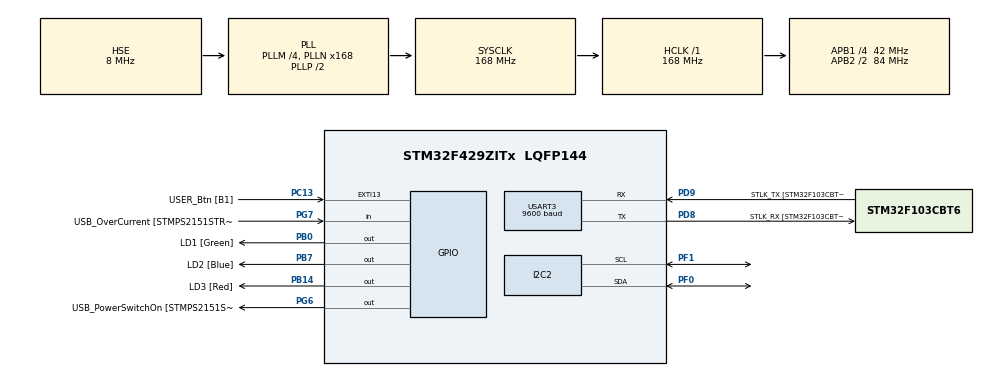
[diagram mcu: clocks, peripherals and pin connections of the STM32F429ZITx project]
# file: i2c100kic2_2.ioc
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Mcu.Family=STM32F4
Mcu.Name=STM32F429ZITx
Mcu.Package=LQFP144
NVIC.PriorityGroup=NVIC_PRIORITYGROUP_4
PA1.GPIO_Label=RMII_REF_CLK [LAN8742A-CZ-TR_REFCLK0]
PA1.Signal=ETH_REF_CLK
PA10.GPIO_Label=USB_ID
PA10.Signal=USB_OTG_FS_ID
PA11.GPIO_Label=USB_DM
PA11.Signal=USB_OTG_FS_DM
PA12.GPIO_Label=USB_DP
PA12.Signal=USB_OTG_FS_DP
PA13.GPIO_Label=TMS
PA13.Signal=SYS_JTMS-SWDIO
PA14.GPIO_Label=TCK
PA14.Signal=SYS_JTCK-SWCLK
PA2.GPIO_Label=RMII_MDIO [LAN8742A-CZ-TR_MDIO]
PA2.Signal=ETH_MDIO
PA7.GPIO_Label=RMII_CRS_DV [LAN8742A-CZ-TR_CRS_DV]
PA7.Signal=ETH_CRS_DV
PA8.GPIO_Label=USB_SOF [TP1]
PA8.Signal=USB_OTG_FS_SOF
PA9.GPIO_Label=USB_VBUS
PA9.Signal=USB_OTG_FS_VBUS
PB0.GPIO_Label=LD1 [Green]
PB0.Signal=GPIO_Output
PB13.GPIO_Label=RMII_TXD1 [LAN8742A-CZ-TR_TXD1]
PB13.Signal=ETH_TXD1
PB14.GPIO_Label=LD3 [Red]
PB14.Signal=GPIO_Output
PB7.GPIO_Label=LD2 [Blue]
PB7.Signal=GPIO_Output
PC1.GPIO_Label=RMII_MDC [LAN8742A-CZ-TR_MDC]
PC1.Signal=ETH_MDC
PC13.GPIO_Label=USER_Btn [B1]
PC13.Signal=GPXTI13
PC14/OSC32_IN.Mode=LSE-External-Oscillator
PC14/OSC32_IN.Signal=RCC_OSC32_IN
PC15/OSC32_OUT.Mode=LSE-External-Oscillator
PC15/OSC32_OUT.Signal=RCC_OSC32_OUT
PC4.GPIO_Label=RMII_RXD0 [LAN8742A-CZ-TR_RXD0]
PC4.Signal=ETH_RXD0
PC5.GPIO_Label=RMII_RXD1 [LAN8742A-CZ-TR_RXD1]
PC5.Signal=ETH_RXD1
PD8.GPIO_Label=STLK_RX [STM32F103CBT6_PA3]
PD8.Mode=Asynchronous
PD8.Signal=USART3_TX
PD9.GPIO_Label=STLK_TX [STM32F103CBT6_PA2]
PD9.Mode=Asynchronous
PD9.Signal=USART3_RX
PF0.Mode=I2C
PF0.Signal=I2C2_SDA
PF1.Mode=I2C
PF1.Signal=I2C2_SCL
PG11.GPIO_Label=RMII_TX_EN [LAN8742A-CZ-TR_TXEN]
PG11.Signal=ETH_TX_EN
PG13.GPIO_Label=RMII_TXD0 [LAN8742A-CZ-TR_TXD0]
PG13.Signal=ETH_TXD0
PG6.GPIO_Label=USB_PowerSwitchOn [STMPS2151STR_EN]
PG6.Signal=GPIO_Output
PG7.GPIO_Label=USB_OverCurrent [STMPS2151STR_FAULT]
PG7.Signal=GPIO_Input
PH0/OSC_IN.GPIO_Label=MCO [STM32F103CBT6_PA8]
PH0/OSC_IN.Mode=HSE-External-Clock-Source
PH0/OSC_IN.Signal=RCC_OSC_IN
PH1/OSC_OUT.Mode=HSE-External-Clock-Source
PH1/OSC_OUT.Signal=RCC_OSC_OUT
ProjectManager.HeapSize=0x200
ProjectManager.StackSize=0x400
ProjectManager.TargetToolchain=STM32CubeIDE
RCC.48MHZClocksFreq_Value=48000000
RCC.AHBFreq_Value=168000000
RCC.APB1CLKDivider=RCC_HCLK_DIV4
RCC.APB1Freq_Value=42000000
RCC.APB1TimFreq_Value=84000000
RCC.APB2CLKDivider=RCC_HCLK_DIV2
RCC.APB2Freq_Value=84000000
RCC.APB2TimCLKDivider=2
RCC.APB2TimFreq_Value=168000000
RCC.CortexFreq_Value=168000000
RCC.HCLKFreq_Value=168000000
RCC.HSE_VALUE=8000000
RCC.HSI_VALUE=16000000
RCC.PLLM=4
RCC.PLLMUL=RCC_PLL_MUL9
RCC.PLLN=168
RCC.PLLQ=7
RCC.PLLSourceVirtual=RCC_PLLSOURCE_HSE
RCC.PRESCALERUSB=RCC_USBCLKSOURCE_PLL_DIV1_5
RCC.SYSCLKFreq_VALUE=168000000
RCC.SYSCLKSource=RCC_SYSCLKSOURCE_PLLCLK
RCC.SYSCLKSourceVirtual=RCC_SYSCLKSOURCE_PLLCLK
RCC.USBFreq_Value=48000000
RCC.VCOOutputFreq_Value=336000000
USART3.BaudRate=9600
USART3.Parity=PARITY_ODD
USART3.VirtualMode=VM_ASYNC
board=NUCLEO-F429ZI

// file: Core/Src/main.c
/* USER CODE BEGIN Header */
/**
 ******************************************************************************
 * @file           : main.c
 * @brief          : Main program body
 ******************************************************************************
 * @attention
 *
 * Copyright (c) 2022 STMicroelectronics.
 * All rights reserved.
 *
 * This software is licensed under terms that can be found in the LICENSE file
 * in the root directory of this software component.
 * If no LICENSE file comes with this software, it is provided AS-IS.
 *
 ******************************************************************************
 */
/* USER CODE END Header */
#include "main.h"

/* USER CODE BEGIN Includes */
#include "SHT3x-DIS/inc/sht3x_dis.h"
/* USER CODE END Includes */

I2C_HandleTypeDef hi2c2;

UART_HandleTypeDef huart3;

/* USER CODE BEGIN PV */
#ifdef __GNUC__
/* With GCC, small printf (option LD Linker->Libraries->Small printf
   set to 'Yes') calls __io_putchar() */
#define PUTCHAR_PROTOTYPE int __io_putchar(int ch)
#else
#define PUTCHAR_PROTOTYPE int fputc(int ch, FILE *f)
#endif /* __GNUC__ */
/* USER CODE END PV */

void SystemClock_Config(void);
static void MX_GPIO_Init(void);
static void MX_I2C2_Init(void);
static void MX_USART3_UART_Init(void);

int main(void)
{

	/* MCU Configuration--------------------------------------------------------*/

	/* Reset of all peripherals, Initializes the Flash interface and the Systick. */
	HAL_Init();

	/* Configure the system clock */
	SystemClock_Config();

	/* Initialize all configured peripherals */
	MX_GPIO_Init();
	MX_I2C2_Init();
	MX_USART3_UART_Init();

	/* Infinite loop */
	/* USER CODE BEGIN WHILE */

	//
	printf("\n\r");
	HAL_Delay(3000);
	/* Output a message on Hyperterminal using printf function */
	printf(" *******************************\n\r");
	printf("  SHT3x-DIS DRIVER test\n\r");
	printf(" *******************************\n\r");

	sht3x_t sht3x_dev;
	statusPort_f sht3x_init;
	statusPort_f sht3x_config;
	statusPort_f sht3x_status;
	uint8_t register_status[2];

	I2C_Handle_Port_t i2c;
	i2c.instance = &hi2c2;

	sht3x_init = SHT3x_DIS_init  (&sht3x_dev, &i2c);
	if (sht3x_init == STATUS_PORT_OK){
		printf ("  - SHT3x-DIS Init: OK\n\r");
	}else{
		printf ("  - SHT3x-DIS Init: ERROR  (%u)\n\r", sht3x_init);
	}

	sht3x_config = SHT3x_DIS_config(&sht3x_dev, SHT3X_ADDRESS_A, SHT3X_MODE_HIGH_CS_ENABLED);
	if (sht3x_config == STATUS_PORT_OK){
		printf ("  - SHT3x-DIS Config: OK\n\r");
	}else{
		printf ("  - SHT3x-DIS Config: ERROR  (%u)\n\r", sht3x_config);
	}

	uint32_t temp = 0;
	uint32_t hum = 0;

	uint32_t f_60 = 0;
	uint32_t temp_test_heater = 0;

	register_status[0] = 0;
	register_status[0] = 0;

	/*
	statusPort_f SHT3x_DIS_init(sht3x_t * const dev, I2C_Handle_Port_t* i2c);
	statusPort_f SHT3x_DIS_config(sht3x_t * const dev, sht3x_address_t my_address, sht3x_mode_t my_mode);
	statusPort_f SHT3x_DIS_reset(sht3x_t * const dev);
	statusPort_f SHT3x_DIS_heater(sht3x_t * const dev, bool enabled);
	statusPort_f SHT3x_DIS_read_status(sht3x_t * const dev, uint32_t *status);
	statusPort_f SHT3x_DIS_clear_status(sht3x_t * const dev);
	statusPort_f SHT3x_DIS_read_TH(sht3x_t * const dev, uint32_t *temp,uint32_t *hum);
	*/

	while (1)
	{
		if((temp>temp_test_heater) && (f_60 == 1)){
			printf("  SHT3x-DIS heater test\n\r");
			sht3x_status = SHT3x_DIS_heater(&sht3x_dev,0);
			if (sht3x_status == STATUS_PORT_OK){
				printf ("  - SHT3x-DIS heater: OFF\n\r");
			}else{
				printf ("  - SHT3x-DIS heater: ERROR  (%u)\n\r", sht3x_status);
			}
		}

		if((hum>60) && (f_60==0) ){
			temp_test_heater = temp+3;
			f_60 = 1;

			printf("  SHT3x-DIS heater test\n\r");
			sht3x_status = SHT3x_DIS_heater(&sht3x_dev,1);
			if (sht3x_status == STATUS_PORT_OK){
				printf ("  - SHT3x-DIS heater: ON\n\r");
			}else{
				printf ("  - SHT3x-DIS Reset: ERROR  (%u)\n\r", sht3x_status);
			}

			/*
			printf(" SHT3x-DIS reset test\n\r");
			sht3x_status = SHT3x_DIS_reset(&sht3x_dev);
			if (sht3x_status == STATUS_PORT_OK){
				printf (" - SHT3x-DIS Reset: OK\n\r");
			}else{
				printf (" - SHT3x-DIS Reset: ERROR  (%u)\n\r", sht3x_status);
			}
			*/

			/*
			printf(" SHT3x-DIS read/clear status test\n\r");
			sht3x_status = SHT3x_DIS_read_status(&sht3x_dev, &register_status);
			if (sht3x_status == STATUS_PORT_OK){
				printf (" - SHT3x-DIS Read Status Register: 0x%02X 0x%02X \n\r",register_status[0],register_status[1]);
			}else{
				printf (" - SHT3x-DIS Read Status Register ERROR: (%u)\n\r", sht3x_status);
			}

			if (sht3x_status == STATUS_PORT_OK){
				sht3x_status = SHT3x_DIS_clear_status(&sht3x_dev);
			}

			if (sht3x_status == STATUS_PORT_OK){
				printf (" - SHT3x-DIS Clear Status Register OK\n\r");
			}else{
				printf (" - SHT3x-DIS Clear Status Register ERROR: (%u)\n\r", sht3x_status);
			}
			*/
		}

		sht3x_status = SHT3x_DIS_read_TH(&sht3x_dev,&temp,&hum);
		if (sht3x_status == STATUS_PORT_OK){
			printf (" TEMP: %u C  ---  HUM : %u%%\n\r", temp, hum);
		}

		//HAL_GPIO_WritePin(GPIOB, LD1_Pin|LD3_Pin|LD2_Pin, GPIO_PIN_RESET);

		HAL_GPIO_WritePin(GPIOB, LD1_Pin, GPIO_PIN_SET);
		HAL_Delay(100);
		HAL_GPIO_WritePin(GPIOB, LD1_Pin|LD3_Pin|LD2_Pin, GPIO_PIN_RESET);
		HAL_Delay(2900);
		/* USER CODE END WHILE */

	}
}

void SystemClock_Config(void)
{
	RCC_OscInitTypeDef RCC_OscInitStruct = {0};
	RCC_ClkInitTypeDef RCC_ClkInitStruct = {0};

	/** Configure the main internal regulator output voltage
	 */
	__HAL_RCC_PWR_CLK_ENABLE();
	__HAL_PWR_VOLTAGESCALING_CONFIG(PWR_REGULATOR_VOLTAGE_SCALE1);

	/** Initializes the RCC Oscillators according to the specified parameters
	 * in the RCC_OscInitTypeDef structure.
	 */
	RCC_OscInitStruct.OscillatorType = RCC_OSCILLATORTYPE_HSE;
	RCC_OscInitStruct.HSEState = RCC_HSE_BYPASS;
	RCC_OscInitStruct.PLL.PLLState = RCC_PLL_ON;
	RCC_OscInitStruct.PLL.PLLSource = RCC_PLLSOURCE_HSE;
	RCC_OscInitStruct.PLL.PLLM = 4;
	RCC_OscInitStruct.PLL.PLLN = 168;
	RCC_OscInitStruct.PLL.PLLP = RCC_PLLP_DIV2;
	RCC_OscInitStruct.PLL.PLLQ = 7;
	if (HAL_RCC_OscConfig(&RCC_OscInitStruct) != HAL_OK)
	{
		Error_Handler();
	}

	/** Initializes the CPU, AHB and APB buses clocks
	 */
	RCC_ClkInitStruct.ClockType = RCC_CLOCKTYPE_HCLK|RCC_CLOCKTYPE_SYSCLK
			|RCC_CLOCKTYPE_PCLK1|RCC_CLOCKTYPE_PCLK2;
	RCC_ClkInitStruct.SYSCLKSource = RCC_SYSCLKSOURCE_PLLCLK;
	RCC_ClkInitStruct.AHBCLKDivider = RCC_SYSCLK_DIV1;
	RCC_ClkInitStruct.APB1CLKDivider = RCC_HCLK_DIV4;
	RCC_ClkInitStruct.APB2CLKDivider = RCC_HCLK_DIV2;

	if (HAL_RCC_ClockConfig(&RCC_ClkInitStruct, FLASH_LATENCY_5) != HAL_OK)
	{
		Error_Handler();
	}
}

static void MX_I2C2_Init(void)
{

	hi2c2.Instance = I2C2;
	hi2c2.Init.ClockSpeed = 100000;
	hi2c2.Init.DutyCycle = I2C_DUTYCYCLE_2;
	hi2c2.Init.OwnAddress1 = 0;
	hi2c2.Init.AddressingMode = I2C_ADDRESSINGMODE_7BIT;
	hi2c2.Init.DualAddressMode = I2C_DUALADDRESS_DISABLE;
	hi2c2.Init.OwnAddress2 = 0;
	hi2c2.Init.GeneralCallMode = I2C_GENERALCALL_DISABLE;
	hi2c2.Init.NoStretchMode = I2C_NOSTRETCH_DISABLE;
	if (HAL_I2C_Init(&hi2c2) != HAL_OK)
	{
		Error_Handler();
	}

	/** Configure Analogue filter
	 */
	if (HAL_I2CEx_ConfigAnalogFilter(&hi2c2, I2C_ANALOGFILTER_ENABLE) != HAL_OK)
	{
		Error_Handler();
	}

	/** Configure Digital filter
	 */
	if (HAL_I2CEx_ConfigDigitalFilter(&hi2c2, 0) != HAL_OK)
	{
		Error_Handler();
	}

}

static void MX_USART3_UART_Init(void)
{

	huart3.Instance = USART3;
	huart3.Init.BaudRate = 9600;
	huart3.Init.WordLength = UART_WORDLENGTH_8B;
	huart3.Init.StopBits = UART_STOPBITS_1;
	huart3.Init.Parity = UART_PARITY_ODD;
	huart3.Init.Mode = UART_MODE_TX_RX;
	huart3.Init.HwFlowCtl = UART_HWCONTROL_NONE;
	huart3.Init.OverSampling = UART_OVERSAMPLING_16;
	if (HAL_UART_Init(&huart3) != HAL_OK)
	{
		Error_Handler();
	}

}

static void MX_GPIO_Init(void)
{
	GPIO_InitTypeDef GPIO_InitStruct = {0};

	/* GPIO Ports Clock Enable */
	__HAL_RCC_GPIOC_CLK_ENABLE();
	__HAL_RCC_GPIOF_CLK_ENABLE();
	__HAL_RCC_GPIOH_CLK_ENABLE();
	__HAL_RCC_GPIOA_CLK_ENABLE();
	__HAL_RCC_GPIOB_CLK_ENABLE();
	__HAL_RCC_GPIOD_CLK_ENABLE();
	__HAL_RCC_GPIOG_CLK_ENABLE();

	/*Configure GPIO pin Output Level */
	HAL_GPIO_WritePin(GPIOB, LD1_Pin|LD3_Pin|LD2_Pin, GPIO_PIN_RESET);

	/*Configure GPIO pin Output Level */
	HAL_GPIO_WritePin(USB_PowerSwitchOn_GPIO_Port, USB_PowerSwitchOn_Pin, GPIO_PIN_RESET);

	/*Configure GPIO pin : USER_Btn_Pin */
	GPIO_InitStruct.Pin = USER_Btn_Pin;
	GPIO_InitStruct.Mode = GPIO_MODE_IT_RISING;
	GPIO_InitStruct.Pull = GPIO_NOPULL;
	HAL_GPIO_Init(USER_Btn_GPIO_Port, &GPIO_InitStruct);

	/*Configure GPIO pins : RMII_MDC_Pin RMII_RXD0_Pin RMII_RXD1_Pin */
	GPIO_InitStruct.Pin = RMII_MDC_Pin|RMII_RXD0_Pin|RMII_RXD1_Pin;
	GPIO_InitStruct.Mode = GPIO_MODE_AF_PP;
	GPIO_InitStruct.Pull = GPIO_NOPULL;
	GPIO_InitStruct.Speed = GPIO_SPEED_FREQ_VERY_HIGH;
	GPIO_InitStruct.Alternate = GPIO_AF11_ETH;
	HAL_GPIO_Init(GPIOC, &GPIO_InitStruct);

	/*Configure GPIO pins : RMII_REF_CLK_Pin RMII_MDIO_Pin RMII_CRS_DV_Pin */
	GPIO_InitStruct.Pin = RMII_REF_CLK_Pin|RMII_MDIO_Pin|RMII_CRS_DV_Pin;
	GPIO_InitStruct.Mode = GPIO_MODE_AF_PP;
	GPIO_InitStruct.Pull = GPIO_NOPULL;
	GPIO_InitStruct.Speed = GPIO_SPEED_FREQ_VERY_HIGH;
	GPIO_InitStruct.Alternate = GPIO_AF11_ETH;
	HAL_GPIO_Init(GPIOA, &GPIO_InitStruct);

	/*Configure GPIO pins : LD1_Pin LD3_Pin LD2_Pin */
	GPIO_InitStruct.Pin = LD1_Pin|LD3_Pin|LD2_Pin;
	GPIO_InitStruct.Mode = GPIO_MODE_OUTPUT_PP;
	GPIO_InitStruct.Pull = GPIO_NOPULL;
	GPIO_InitStruct.Speed = GPIO_SPEED_FREQ_LOW;
	HAL_GPIO_Init(GPIOB, &GPIO_InitStruct);

	/*Configure GPIO pin : RMII_TXD1_Pin */
	GPIO_InitStruct.Pin = RMII_TXD1_Pin;
	GPIO_InitStruct.Mode = GPIO_MODE_AF_PP;
	GPIO_InitStruct.Pull = GPIO_NOPULL;
	GPIO_InitStruct.Speed = GPIO_SPEED_FREQ_VERY_HIGH;
	GPIO_InitStruct.Alternate = GPIO_AF11_ETH;
	HAL_GPIO_Init(RMII_TXD1_GPIO_Port, &GPIO_InitStruct);

	/*Configure GPIO pin : USB_PowerSwitchOn_Pin */
	GPIO_InitStruct.Pin = USB_PowerSwitchOn_Pin;
	GPIO_InitStruct.Mode = GPIO_MODE_OUTPUT_PP;
	GPIO_InitStruct.Pull = GPIO_NOPULL;
	GPIO_InitStruct.Speed = GPIO_SPEED_FREQ_LOW;
	HAL_GPIO_Init(USB_PowerSwitchOn_GPIO_Port, &GPIO_InitStruct);

	/*Configure GPIO pin : USB_OverCurrent_Pin */
	GPIO_InitStruct.Pin = USB_OverCurrent_Pin;
	GPIO_InitStruct.Mode = GPIO_MODE_INPUT;
	GPIO_InitStruct.Pull = GPIO_NOPULL;
	HAL_GPIO_Init(USB_OverCurrent_GPIO_Port, &GPIO_InitStruct);

	/*Configure GPIO pins : USB_SOF_Pin USB_ID_Pin USB_DM_Pin USB_DP_Pin */
	GPIO_InitStruct.Pin = USB_SOF_Pin|USB_ID_Pin|USB_DM_Pin|USB_DP_Pin;
	GPIO_InitStruct.Mode = GPIO_MODE_AF_PP;
	GPIO_InitStruct.Pull = GPIO_NOPULL;
	GPIO_InitStruct.Speed = GPIO_SPEED_FREQ_VERY_HIGH;
	GPIO_InitStruct.Alternate = GPIO_AF10_OTG_FS;
	HAL_GPIO_Init(GPIOA, &GPIO_InitStruct);

	/*Configure GPIO pin : USB_VBUS_Pin */
	GPIO_InitStruct.Pin = USB_VBUS_Pin;
	GPIO_InitStruct.Mode = GPIO_MODE_INPUT;
	GPIO_InitStruct.Pull = GPIO_NOPULL;
	HAL_GPIO_Init(USB_VBUS_GPIO_Port, &GPIO_InitStruct);

	/*Configure GPIO pins : RMII_TX_EN_Pin RMII_TXD0_Pin */
	GPIO_InitStruct.Pin = RMII_TX_EN_Pin|RMII_TXD0_Pin;
	GPIO_InitStruct.Mode = GPIO_MODE_AF_PP;
	GPIO_InitStruct.Pull = GPIO_NOPULL;
	GPIO_InitStruct.Speed = GPIO_SPEED_FREQ_VERY_HIGH;
	GPIO_InitStruct.Alternate = GPIO_AF11_ETH;
	HAL_GPIO_Init(GPIOG, &GPIO_InitStruct);

}

/* USER CODE BEGIN 4 */
/**
  * @brief  Retargets the C library printf function to the USART.
  * @param  None
  * @retval None
  */
PUTCHAR_PROTOTYPE
{
  /* Place your implementation of fputc here */
  /* e.g. write a character to the USART3 and Loop until the end of transmission */
  HAL_UART_Transmit(&huart3, (uint8_t *)&ch, 1, 0xFFFF);

  return ch;
}
/* USER CODE END 4 */

void Error_Handler(void)
{
	__disable_irq();
	while (1)
	{
	}
}
